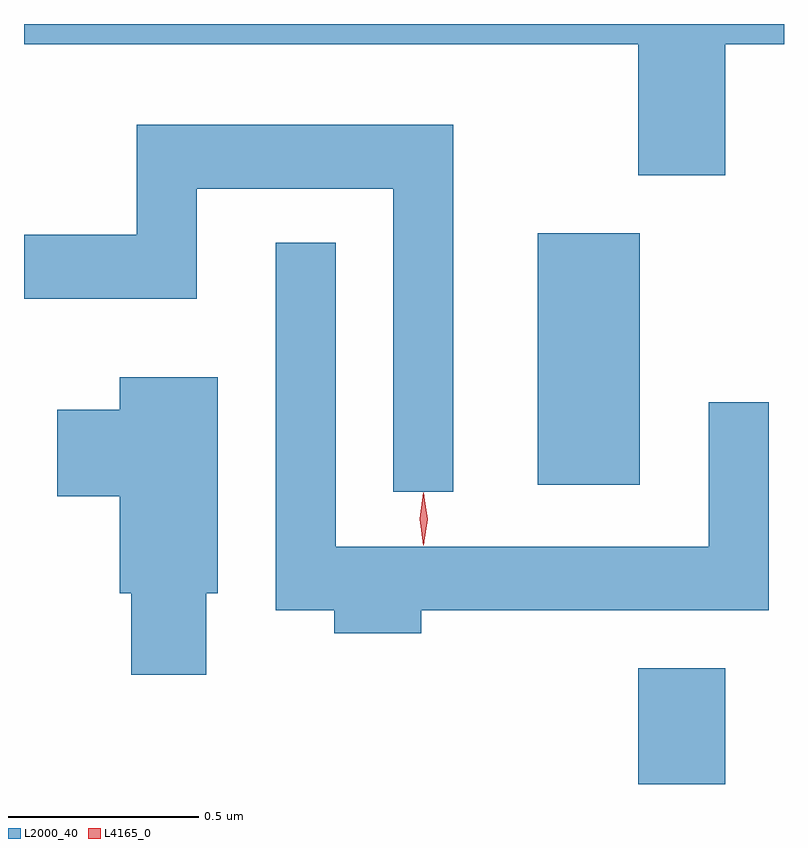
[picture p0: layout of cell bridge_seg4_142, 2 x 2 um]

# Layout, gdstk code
import gdstk
lib = gdstk.Library(unit=1e-6, precision=1e-09)
def R(c, l, rs):  # rectangles x0, y0, x1, y1
    for r in rs: c.add(gdstk.rectangle(r[:2], r[2:], *l))
def P(c, l, *ps):  # polygons
    for p in ps: c.add(gdstk.Polygon(p, *l))
L2000_40 = (2000, 40)
L4165_0 = (4165, 0)

bridge_seg4_142 = lib.new_cell('bridge_seg4_142')
R(bridge_seg4_142, L2000_40, [(902.981,1308.329,903.209,1308.634), (902.716,1309.116,902.984,1309.779)])
P(bridge_seg4_142, L2000_40, [(903.209,1310.276),(903.364,1310.276),(903.364,1310.329),(901.364,1310.329),(901.364,1310.276),(902.981,1310.276),(902.981,1309.931),(903.209,1309.931)],
  [(902.494,1310.064),(901.661,1310.064),(901.661,1309.774),(901.364,1309.774),(901.364,1309.606),(901.819,1309.606),(901.819,1309.896),(902.336,1309.896),(902.336,1309.098),(902.494,1309.098)],
  [(902.409,1308.786),(903.324,1308.786),(903.324,1309.333),(903.166,1309.333),(903.166,1308.954),(902.184,1308.954),(902.184,1309.753),(902.026,1309.753),(902.026,1308.786),(902.181,1308.786),(902.181,1308.726),(902.409,1308.726)],
  [(901.844,1308.831),(901.874,1308.831),(901.874,1309.399),(901.616,1309.399),(901.616,1309.314),(901.451,1309.314),(901.451,1309.086),(901.616,1309.086),(901.616,1308.831),(901.646,1308.831),(901.646,1308.616),(901.844,1308.616)])
P(bridge_seg4_142, L4165_0, [(902.415,1308.957),(902.415,1308.957),(902.405,1309.027),(902.415,1309.096),(902.415,1309.096),(902.416,1309.096),(902.425,1309.027),(902.416,1308.957)],
  [(902.416,1308.959),(902.415,1308.96),(902.406,1309.026),(902.415,1309.092),(902.416,1309.093),(902.416,1309.092),(902.426,1309.026),(902.416,1308.96)])

lib.write_gds('bridge_seg4_142.gds')
